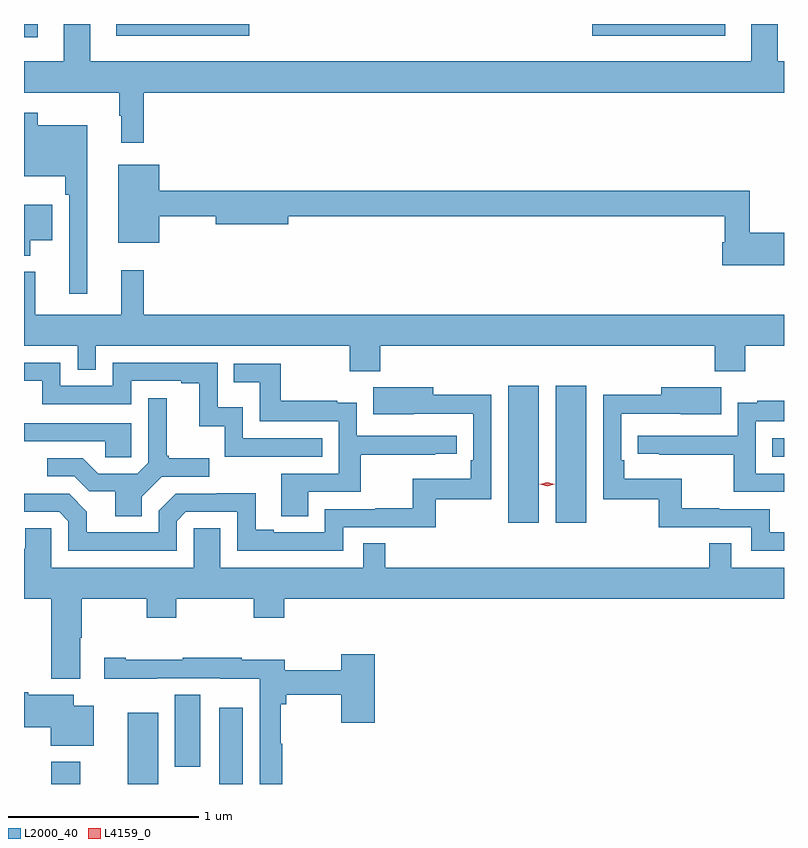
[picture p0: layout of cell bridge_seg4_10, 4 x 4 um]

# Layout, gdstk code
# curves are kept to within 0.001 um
import gdstk
lib = gdstk.Library(unit=1e-6, precision=1e-09)
def R(c, l, rs):  # rectangles x0, y0, x1, y1
    for r in rs: c.add(gdstk.rectangle(r[:2], r[2:], *l))
def P(c, l, *ps):  # polygons
    for p in ps: c.add(gdstk.Polygon(p, *l))
L2000_40 = (2000, 40)
L4159_0 = (4159, 0)

bridge_seg4_10 = lib.new_cell('bridge_seg4_10')
R(bridge_seg4_10, L2000_40, [(891.083,777.197,891.235,777.313), (891.485,777.197,891.646,777.571), (891.968,777.197,892.09,777.598), (891.734,777.288,891.868,777.668), (893.489,778.572,893.65,779.293), (893.738,778.572,893.899,779.293), (894.877,778.92,894.94,779.016), (890.94,781.128,891.013,781.197), (891.425,781.136,892.126,781.197), (893.931,781.136,894.631,781.197)])
P(bridge_seg4_10, L2000_40, [(891.569,780.836),(894.94,780.836),(894.94,781),(894.907,781),(894.907,781.195),(894.767,781.195),(894.767,781),(891.289,781),(891.289,781.195),(891.149,781.195),(891.149,781),(890.94,781),(890.94,780.836),(891.441,780.836),(891.441,780.713),(891.452,780.713),(891.452,780.573),(891.569,780.573)],
  [(891.274,780.664),(891.013,780.664),(891.013,780.73),(890.94,780.73),(890.94,780.395),(891.157,780.395),(891.157,780.299),(891.177,780.299),(891.177,779.778),(891.274,779.778)],
  [(894.94,780.098),(894.761,780.098),(894.761,780.32),(891.652,780.32),(891.652,780.457),(891.437,780.457),(891.437,780.047),(891.652,780.047),(891.652,780.184),(891.95,780.184),(891.95,780.142),(892.33,780.142),(892.33,780.184),(894.629,780.184),(894.629,780.049),(894.614,780.049),(894.614,779.927),(894.94,779.927)],
  [(890.974,780.059),(891.088,780.059),(891.088,780.247),(890.94,780.247),(890.94,779.978),(890.974,779.978)],
  [(891.569,779.902),(891.452,779.902),(891.452,779.668),(890.999,779.668),(890.999,779.893),(890.94,779.893),(890.94,779.504),(891.222,779.504),(891.222,779.377),(891.318,779.377),(891.318,779.504),(892.654,779.504),(892.654,779.369),(892.814,779.369),(892.814,779.504),(894.575,779.504),(894.575,779.369),(894.735,779.369),(894.735,779.504),(894.94,779.504),(894.94,779.668),(891.569,779.668)],
  [(892.511,779.016),(892.092,779.016),(892.092,779.179),(891.96,779.179),(891.96,779.415),(891.408,779.415),(891.408,779.292),(891.132,779.292),(891.132,779.415),(890.94,779.415),(890.94,779.319),(891.036,779.319),(891.036,779.196),(891.504,779.196),(891.504,779.319),(891.767,779.319),(891.767,779.307),(891.863,779.307),(891.863,779.081),(891.996,779.081),(891.996,778.92),(892.511,778.92)],
  [(892.435,778.734),(892.712,778.734),(892.712,778.93),(893.105,778.93),(893.105,778.935),(893.218,778.935),(893.218,779.031),(892.692,779.031),(892.692,779.203),(892.589,779.203),(892.589,779.215),(892.291,779.215),(892.291,779.409),(892.045,779.409),(892.045,779.312),(892.18,779.312),(892.18,779.106),(892.596,779.106),(892.596,778.83),(892.295,778.83),(892.295,778.606),(892.435,778.606)],
  [(891.744,778.581),(891.792,778.629),(892.062,778.629),(892.062,778.425),(892.62,778.425),(892.62,778.548),(893.107,778.548),(893.107,778.695),(893.4,778.695),(893.4,779.246),(893.095,779.246),(893.095,779.284),(892.777,779.284),(892.777,779.144),(893.304,779.145),(893.304,778.9),(893.291,778.9),(893.291,778.804),(892.986,778.804),(892.986,778.649),(892.789,778.649),(892.789,778.644),(892.524,778.644),(892.524,778.521),(892.255,778.521),(892.255,778.534),(892.159,778.534),(892.159,778.727),(891.954,778.727),(891.954,778.725),(891.738,778.725),(891.648,778.635),(891.648,778.521),(891.271,778.521),(891.271,778.631),(891.177,778.725),(890.94,778.725),(890.94,778.629),(891.126,778.629),(891.174,778.581),(891.174,778.425),(891.744,778.425)],
  [(894.94,778.521),(894.864,778.521),(894.864,778.644),(894.599,778.644),(894.599,778.649),(894.403,778.649),(894.403,778.804),(894.098,778.804),(894.098,778.9),(894.084,778.9),(894.084,779.145),(894.397,779.145),(894.397,779.144),(894.611,779.144),(894.611,779.284),(894.293,779.284),(894.293,779.246),(893.988,779.246),(893.988,778.695),(894.282,778.695),(894.282,778.548),(894.768,778.548),(894.768,778.425),(894.94,778.425)],
  [(891.559,778.708),(891.666,778.815),(891.916,778.815),(891.916,778.912),(891.703,778.912),(891.703,778.924),(891.691,778.924),(891.691,779.227),(891.594,779.227),(891.594,778.887),(891.537,778.83),(891.331,778.83),(891.25,778.911),(891.063,778.911),(891.063,778.818),(891.204,778.818),(891.284,778.738),(891.419,778.738),(891.419,778.606),(891.559,778.606)],
  [(894.94,778.83),(894.792,778.83),(894.792,779.106),(894.94,779.106),(894.94,779.215),(894.799,779.215),(894.799,779.203),(894.696,779.203),(894.696,779.031),(894.171,779.031),(894.171,778.935),(894.283,778.935),(894.283,778.93),(894.676,778.93),(894.676,778.734),(894.94,778.734)],
  [(891.504,779.097),(890.94,779.097),(890.94,779.001),(891.367,779.001),(891.367,778.917),(891.504,778.917)],
  [(891.235,777.968),(891.243,777.968),(891.243,778.172),(891.586,778.172),(891.586,778.073),(891.741,778.073),(891.741,778.172),(892.15,778.172),(892.15,778.073),(892.31,778.073),(892.31,778.172),(894.94,778.172),(894.94,778.336),(894.663,778.336),(894.663,778.463),(894.547,778.463),(894.547,778.336),(892.841,778.336),(892.841,778.463),(892.725,778.463),(892.725,778.336),(891.973,778.336),(891.973,778.544),(891.834,778.544),(891.834,778.336),(891.084,778.336),(891.084,778.544),(890.947,778.544),(890.947,778.434),(890.94,778.434),(890.94,778.172),(891.083,778.172),(891.083,777.752),(891.235,777.752)],
  [(892.298,777.41),(892.291,777.41),(892.291,777.617),(892.32,777.617),(892.32,777.667),(892.609,777.667),(892.609,777.519),(892.787,777.519),(892.787,777.88),(892.609,777.88),(892.609,777.796),(892.312,777.796),(892.312,777.852),(892.085,777.852),(892.085,777.862),(891.775,777.862),(891.775,777.852),(891.475,777.852),(891.475,777.862),(891.363,777.862),(891.363,777.752),(891.638,777.752),(891.638,777.753),(891.972,777.753),(891.972,777.752),(892.182,777.752),(892.182,777.197),(892.298,777.197)],
  [(891.307,777.61),(891.202,777.61),(891.202,777.667),(890.962,777.667),(890.962,777.68),(890.94,777.68),(890.94,777.497),(891.08,777.497),(891.08,777.398),(891.307,777.398)])
P(bridge_seg4_10, L4159_0, [(893.694,778.764),(893.654,778.774),(893.654,778.774),(893.654,778.775),(893.694,778.784),(893.734,778.774),(893.734,778.774),(893.734,778.774)])

lib.write_gds('bridge_seg4_10.gds')
